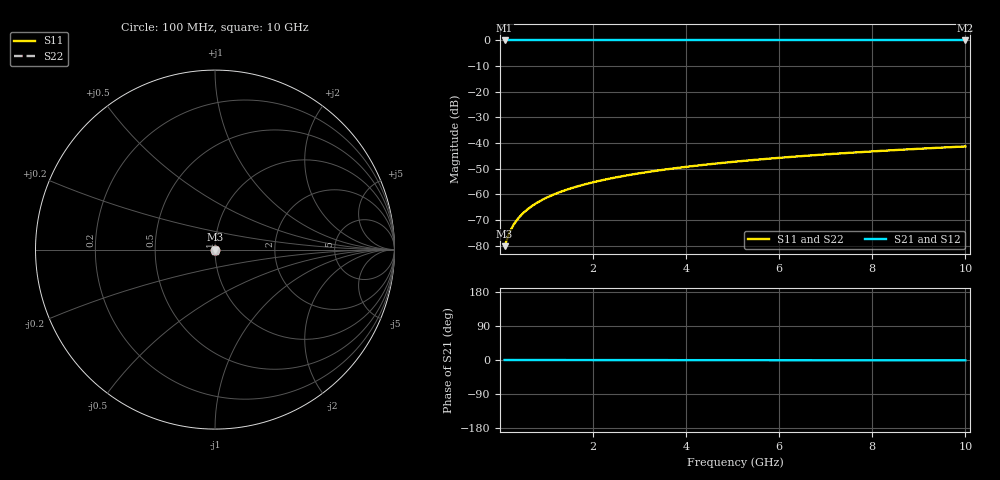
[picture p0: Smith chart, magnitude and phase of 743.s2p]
# Hz S RI R 50.00
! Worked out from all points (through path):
!   100 points, 100 MHz to 10 GHz, reference 50 ohm
!   highest |S21| = 0.00 dB at 100 MHz (marker M1); lowest = 0.0 dB at 10 GHz (marker M2)
!   lowest |S11| = -80.3 dB at 100 MHz (marker M3), VSWR 1.00, Z = 50 - j0.00855 ohm
!   |S11| at or under -10 dB: start of sweep to end of sweep
!   |S22| runs from -80.3 to -41.3 dB; largest |S21 - S12| = 0
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1e8  4.61e-05 -8.55e-05  1 -0.000147  1 -0.000147  4.61e-05 -8.55e-05
2e8  4.63e-05 -0.000171  1 -0.000295  1 -0.000295  4.63e-05 -0.000171
3e8  4.63e-05 -0.000256  1 -0.000442  1 -0.000442  4.63e-05 -0.000256
4e8  4.63e-05 -0.000342  1 -0.000589  1 -0.000589  4.63e-05 -0.000342
5e8  4.62e-05 -0.000427  1 -0.000736  1 -0.000736  4.62e-05 -0.000427
6e8  4.61e-05 -0.000513  1 -0.000884  1 -0.000884  4.61e-05 -0.000513
7e8  4.6e-05 -0.000598  1 -0.00103  1 -0.00103  4.6e-05 -0.000598
8e8  4.58e-05 -0.000684  0.9999 -0.00118  0.9999 -0.00118  4.58e-05 -0.000684
9e8  4.56e-05 -0.000769  0.9999 -0.00133  0.9999 -0.00133  4.56e-05 -0.000769
1.1e9  4.51e-05 -0.00094  0.9999 -0.00162  0.9999 -0.00162  4.51e-05 -0.00094
1.4e9  4.41e-05 -0.0012  0.9999 -0.00206  0.9999 -0.00206  4.41e-05 -0.0012
1.8e9  4.24e-05 -0.00154  0.9999 -0.00265  0.9999 -0.00265  4.24e-05 -0.00154
2.1e9  4.08e-05 -0.0018  0.9999 -0.00309  0.9999 -0.00309  4.08e-05 -0.0018
2.5e9  3.83e-05 -0.00214  0.9999 -0.00368  0.9999 -0.00368  3.83e-05 -0.00214
2.9e9  3.54e-05 -0.00248  0.9999 -0.00427  0.9999 -0.00427  3.54e-05 -0.00248
3.4e9  3.12e-05 -0.00291  0.9999 -0.00501  0.9999 -0.00501  3.12e-05 -0.00291
4.2e9  2.32e-05 -0.00359  0.9999 -0.00619  0.9999 -0.00619  2.32e-05 -0.00359
5.1e9  1.22e-05 -0.00436  0.9999 -0.00752  0.9999 -0.00752  1.22e-05 -0.00436
5.9e9  6.4e-07 -0.00505  0.9999 -0.0087  0.9999 -0.0087  6.4e-07 -0.00505
6.7e9  -1.25e-05 -0.00573  0.9999 -0.00988  0.9999 -0.00988  -1.25e-05 -0.00573
8.4e9  -4.58e-05 -0.00719  0.9998 -0.0124  0.9998 -0.0124  -4.58e-05 -0.00719
1e10  -8.39e-05 -0.00857  0.9998 -0.0148  0.9998 -0.0148  -8.39e-05 -0.00857
